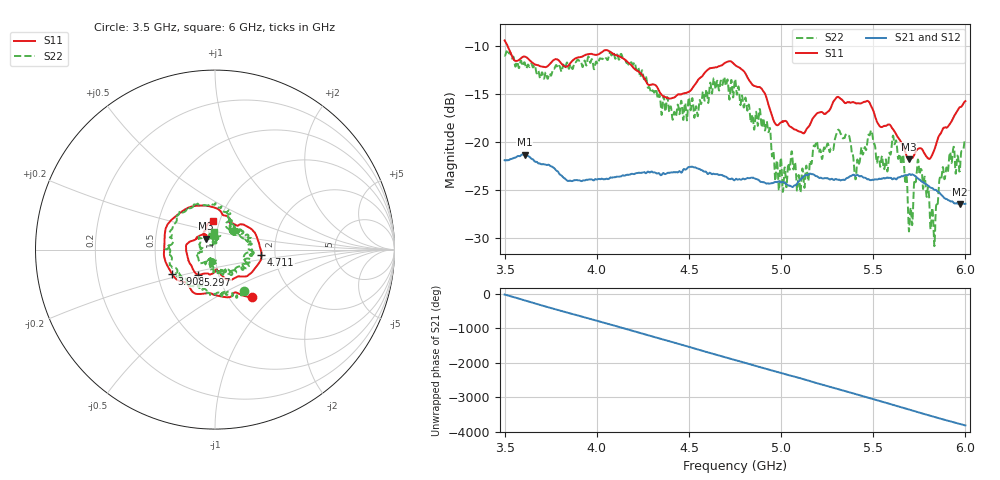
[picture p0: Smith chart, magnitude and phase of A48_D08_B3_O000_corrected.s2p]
! Created with skrf 1.9.0 (http://scikit-rf.org).
# Hz S RI R 50.0
!freq ReS11 ImS11 ReS21 ImS21 ReS12 ImS12 ReS22 ImS22
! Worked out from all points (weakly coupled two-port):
!   1601 points, 3.5 GHz to 6 GHz, reference 50 ohm
!   highest |S21| = -21.34 dB at 3.609 GHz (marker M1); lowest = -26.5 dB at 5.97 GHz (marker M2)
!   lowest |S11| = -21.8 dB at 5.694 GHz (marker M3), VSWR 1.18, Z = 44.7 + j5.52 ohm
!   |S11| at or under -10 dB: 3.515 GHz to end of sweep
!   |S22| runs from -30.9 to -10.6 dB; largest |S21 - S12| = 0.0011
!   S11 on the Smith chart (normalised r, x): 3.5 GHz: 1.27, -0.76; 3.908 GHz: 0.59, -0.17; 4.711 GHz: 1.69, -0.11; 5.297 GHz: 0.80, -0.23; 6 GHz: 0.93, +0.31
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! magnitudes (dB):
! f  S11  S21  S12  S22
! 3.5 GHz  -9.5  -21.9  -21.9  -11.0
! 3.609 GHz  -11.2  -21.3  -21.4  -11.8
! 3.908 GHz  -11.2  -24.1  -24.0  -11.6
! 3.917 GHz  -11.2  -24.1  -24.1  -11.8
! 4.139 GHz  -11.3  -23.5  -23.5  -11.2
! 4.334 GHz  -14.6  -23.3  -23.2  -15.5
! 4.711 GHz  -11.7  -23.8  -23.8  -13.7
! 4.75 GHz  -12.0  -24.0  -23.9  -13.5
! 4.93 GHz  -16.0  -24.3  -24.3  -18.9
! 4.98 GHz  -18.3  -24.2  -24.2  -22.2
! 5.167 GHz  -17.8  -23.4  -23.4  -22.1
! 5.297 GHz  -15.5  -23.9  -23.9  -19.4
! 5.406 GHz  -16.0  -23.5  -23.5  -23.8
! 5.484 GHz  -16.1  -24.0  -24.0  -19.1
! 5.584 GHz  -18.2  -23.8  -23.8  -21.6
! 5.617 GHz  -19.0  -23.8  -23.8  -20.2
! 5.694 GHz  -21.8  -23.4  -23.3  -29.3
! 5.752 GHz  -20.7  -24.0  -23.9  -23.4
! 5.823 GHz  -21.2  -24.9  -24.9  -27.3
! 5.869 GHz  -19.1  -25.5  -25.5  -23.9
! 5.97 GHz  -16.4  -26.5  -26.5  -23.1
! 6 GHz  -15.8  -26.5  -26.4  -20.0
